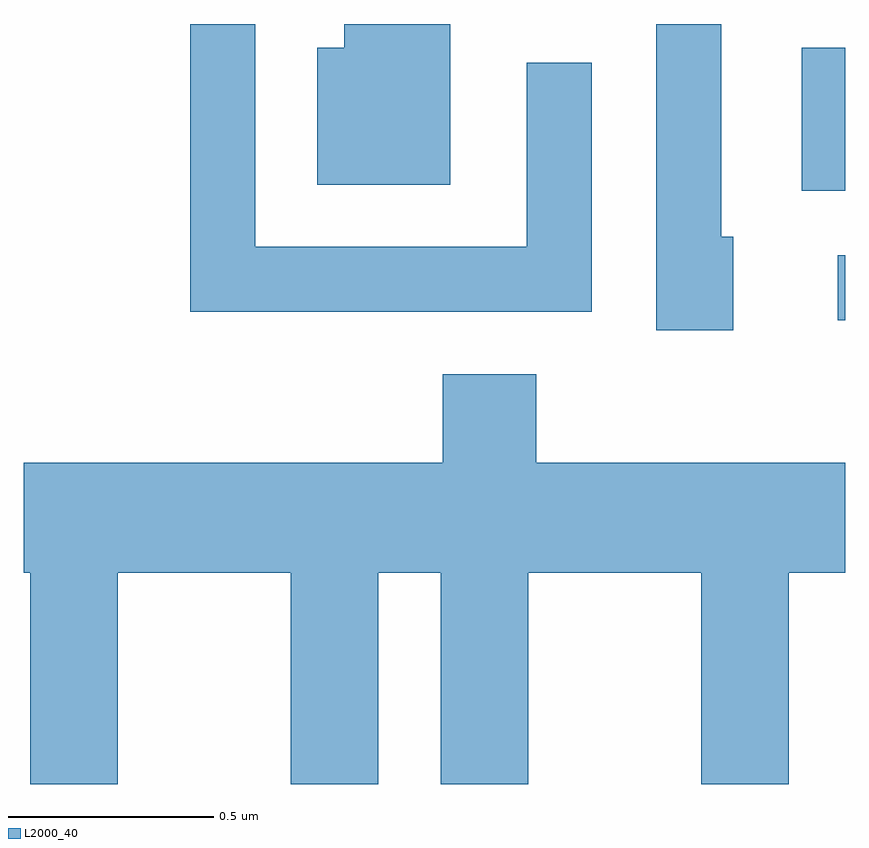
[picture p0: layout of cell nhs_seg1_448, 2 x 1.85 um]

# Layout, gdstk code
import gdstk
lib = gdstk.Library(unit=1e-6, precision=1e-09)
def R(c, l, rs):  # rectangles x0, y0, x1, y1
    for r in rs: c.add(gdstk.rectangle(r[:2], r[2:], *l))
def P(c, l, *ps):  # polygons
    for p in ps: c.add(gdstk.Polygon(p, *l))
L2000_40 = (2000, 40)

nhs_seg1_448 = lib.new_cell('nhs_seg1_448')
R(nhs_seg1_448, L2000_40, [(190.593,877.991,190.611,878.149), (190.506,878.306,190.611,878.654)])
P(nhs_seg1_448, L2000_40, [(190.339,878.194),(190.309,878.194),(190.309,878.712),(190.151,878.712),(190.151,877.966),(190.339,877.966)],
  [(189.994,878.618),(189.836,878.618),(189.836,878.169),(189.174,878.169),(189.174,878.712),(189.016,878.712),(189.016,878.011),(189.994,878.011)],
  [(189.649,878.712),(189.391,878.712),(189.391,878.654),(189.326,878.654),(189.326,878.321),(189.649,878.321)],
  [(188.839,877.376),(189.261,877.376),(189.261,876.861),(189.474,876.861),(189.474,877.376),(189.626,877.376),(189.626,876.861),(189.839,876.861),(189.839,877.376),(190.261,877.376),(190.261,876.861),(190.474,876.861),(190.474,877.376),(190.611,877.376),(190.611,877.644),(189.859,877.644),(189.859,877.859),(189.631,877.859),(189.631,877.644),(188.611,877.644),(188.611,877.376),(188.626,877.376),(188.626,876.861),(188.839,876.861)])

lib.write_gds('nhs_seg1_448.gds')
